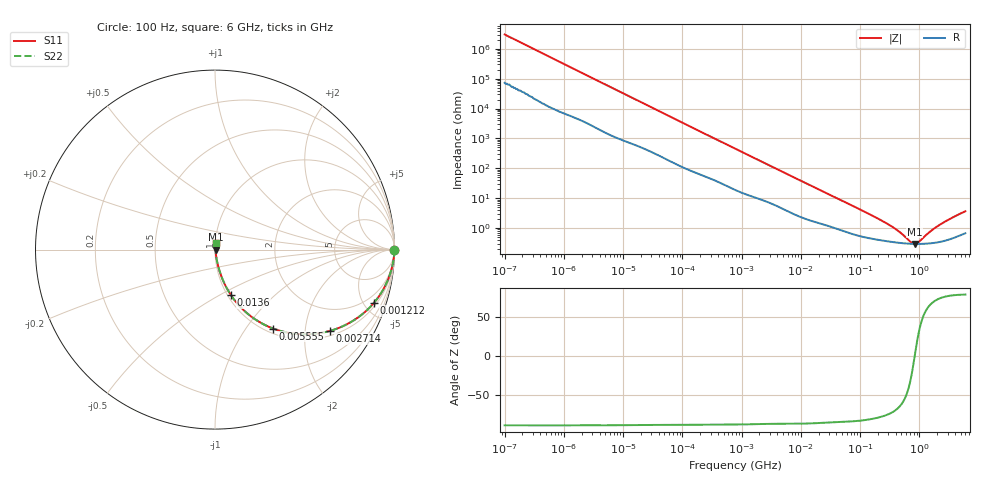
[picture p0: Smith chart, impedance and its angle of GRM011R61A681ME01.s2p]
!Murata Part Number: GRM011R61A681ME01
!These Parameters are Measured in Series Mode Connection
!Data Generated on Mar 30, 2021
!  o--ll--o
!Port1  Port2
!  o------o
!Operation Temp=25[degC], DC Bias Voltage=0[V]
!Freq. Start=100[Hz] Stop=6[GHz] 401[Steps]
# Hz S RI R 50
!Freq.(Hz) S11(Real) S11(Imag) S21(Real) S21(Imag) S12(Real) S12(Imag) S22(Real) S22(Imag)
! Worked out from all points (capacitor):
!   401 points, 100 Hz to 6 GHz, reference 50 ohm
!   read as one part in series: C = 527 pF near 109 Hz
!   lowest |Z| = 294 mohm at 836.7 MHz (marker M1)
!   series resonance near 835.1 MHz, so ESL is about 69 pH
!   S11 on the Smith chart (normalised r, x): 100 Hz: open; 1.212 MHz: 1.26, -5.88; 2.714 MHz: 1.15, -2.69; 5.555 MHz: 1.08, -1.35; 13.6 MHz: 1.04, -0.57; 6 GHz: 1.01, +0.07
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100  1 -3.32e-05  8e-07 3.32e-05  8e-07 3.32e-05  1 -3.32e-05
320  1 -0.000105  2.3e-06 0.000105  2.3e-06 0.000105  1 -0.000105
2008  1 -0.00064  1.64e-05 0.00064  1.64e-05 0.00064  1 -0.00064
40335  0.9995 -0.0122  0.000543 0.0122  0.000543 0.0122  0.9995 -0.0122
231233  0.993 -0.0668  0.00703 0.0668  0.00703 0.0668  0.993 -0.0668
774597  0.9464 -0.2055  0.0536 0.2055  0.0536 0.2055  0.9464 -0.2055
1212075  0.886 -0.2962  0.114 0.2962  0.114 0.2962  0.886 -0.2962
1813585  0.7868 -0.3852  0.2132 0.3852  0.2132 0.3852  0.7868 -0.3852
2713602  0.6382 -0.4535  0.3618 0.4535  0.3618 0.4535  0.6382 -0.4535
5554849  0.3246 -0.4401  0.6754 0.4401  0.6754 0.4401  0.3246 -0.4401
8692127  0.176 -0.3524  0.824 0.3524  0.824 0.3524  0.176 -0.3524
1.360128e7  0.0889 -0.2539  0.9111 0.2539  0.9111 0.2539  0.0889 -0.2539
1.555665e7  0.0724 -0.2272  0.9276 0.2272  0.9276 0.2272  0.0724 -0.2272
5.211241e7  0.0138 -0.0766  0.9862 0.0766  0.9862 0.0766  0.0138 -0.0766
3.124326e8  0.00365 -0.0121  0.9963 0.0121  0.9963 0.0121  0.00365 -0.0121
4.674818e8  0.00321 -0.00655  0.9968 0.00655  0.9968 0.00655  0.00321 -0.00655
7.31507e8  0.00296 -0.00144  0.997 0.00144  0.997 0.00144  0.00296 -0.00144
8.366708e8  0.00294 2.1e-05  0.9971 -2.1e-05  0.9971 -2.1e-05  0.00294 2.1e-05
9.569533e8  0.00293 0.00148  0.9971 -0.00148  0.9971 -0.00148  0.00293 0.00148
1.497423e9  0.00309 0.00671  0.9969 -0.00671  0.9969 -0.00671  0.00309 0.00671
2.240541e9  0.00358 0.0125  0.9964 -0.0125  0.9964 -0.0125  0.00358 0.0125
6e9  0.00791 0.0354  0.9921 -0.0354  0.9921 -0.0354  0.00791 0.0354
